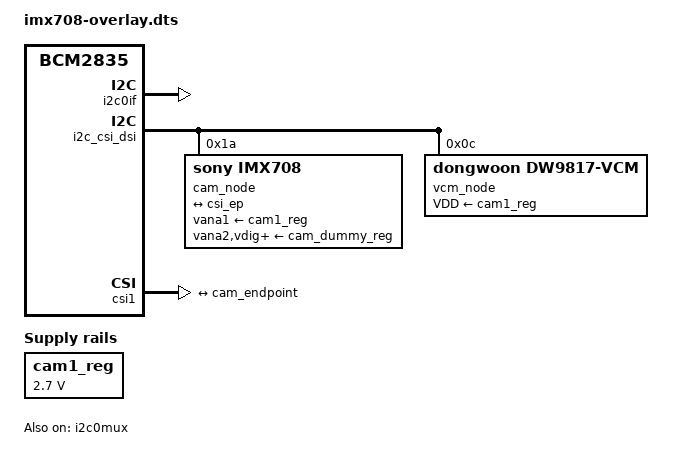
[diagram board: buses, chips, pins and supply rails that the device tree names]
// SPDX-License-Identifier: GPL-2.0-only
// Definitions for IMX708 camera module on VC I2C bus
/dts-v1/;
/plugin/;

#include <dt-bindings/gpio/gpio.h>

/{
	compatible = "brcm,bcm2835";

	fragment@0 {
		target = <&i2c0if>;
		__overlay__ {
			status = "okay";
		};
	};

	clk_frag: fragment@1 {
		target = <&cam1_clk>;
		__overlay__ {
			status = "okay";
			clock-frequency = <24000000>;
		};
	};

	fragment@2 {
		target = <&i2c0mux>;
		__overlay__ {
			status = "okay";
		};
	};

	reg_frag: fragment@3 {
		target = <&cam1_reg>;
		cam_reg: __overlay__ {
			startup-delay-us = <70000>;
			off-on-delay-us = <30000>;
			regulator-min-microvolt = <2700000>;
			regulator-max-microvolt = <2700000>;
		};
	};

	fragment@4 {
		target = <&cam_node>;
		__overlay__ {
			lens-focus = <&vcm_node>;
		};
	};

	i2c_frag: fragment@100 {
		target = <&i2c_csi_dsi>;
		__overlay__ {
			#address-cells = <1>;
			#size-cells = <0>;
			status = "okay";

			// From imx708.dtsi
			// Fragment that configures a Sony IMX708
			cam_node: imx708@1a {
				compatible = "sony,imx708";
				reg = <0x1a>;
				status = "disabled";

				clocks = <&cam1_clk>;
				clock-names = "inclk";

				vana1-supply = <&cam1_reg>;	/* 2.8v */
				vana2-supply = <&cam_dummy_reg>;/* 1.8v */
				vdig-supply = <&cam_dummy_reg>;	/* 1.1v */
				vddl-supply = <&cam_dummy_reg>;	/* 1.8v */

				rotation = <180>;
				orientation = <2>;

				port {
					cam_endpoint: endpoint {
						clock-lanes = <0>;
						data-lanes = <1 2>;
						clock-noncontinuous;
						link-frequencies =
							/bits/ 64 <450000000>;
					};
				};
			};

			vcm_node: dw9817@c {
				compatible = "dongwoon,dw9817-vcm";
				reg = <0x0c>;
				status = "disabled";
				VDD-supply = <&cam1_reg>;
			};
		};
	};

	csi_frag: fragment@101 {
		target = <&csi1>;
		csi: __overlay__ {
			status = "okay";

			port {
				csi_ep: endpoint {
					remote-endpoint = <&cam_endpoint>;
					clock-lanes = <0>;
					data-lanes = <1 2>;
					clock-noncontinuous;
				};
			};
		};
	};

	fragment@102 {
		target = <&csi1>;
		__dormant__ {
			compatible = "brcm,bcm2835-unicam-legacy";
		};
	};

	__overrides__ {
		rotation = <&cam_node>,"rotation:0";
		orientation = <&cam_node>,"orientation:0";
		media-controller = <0>,"!102";
		cam0 = <&i2c_frag>, "target:0=",<&i2c_csi_dsi0>,
		       <&csi_frag>, "target:0=",<&csi0>,
		       <&clk_frag>, "target:0=",<&cam0_clk>,
		       <&reg_frag>, "target:0=",<&cam0_reg>,
		       <&cam_node>, "clocks:0=",<&cam0_clk>,
		       <&cam_node>, "vana1-supply:0=",<&cam0_reg>,
		       <&vcm_node>, "VDD-supply:0=",<&cam0_reg>;
		vcm = <&vcm_node>, "status",
		      <0>, "=4";
		link-frequency = <&cam_endpoint>,"link-frequencies#0";
	};
};

&cam_node {
	status = "okay";
};

&cam_endpoint {
	remote-endpoint = <&csi_ep>;
};

&vcm_node {
	status = "okay";
};
